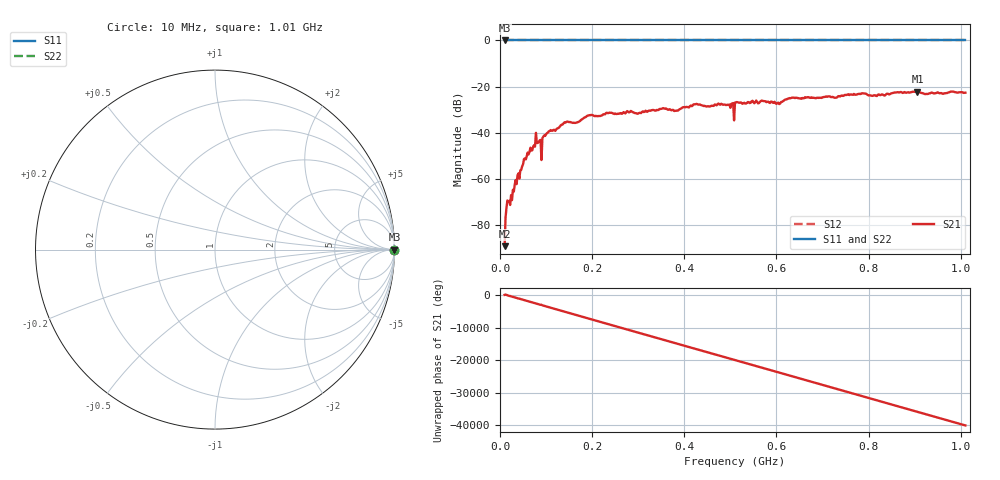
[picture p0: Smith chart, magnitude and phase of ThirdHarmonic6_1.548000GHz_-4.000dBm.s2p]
! 8/16/2025 6:21:59 PM
! C:\ANRITSUVNA\TEMP\TEMP.S2P
! CHANNEL.1
! TR.MEASUREMENT
! RAW.DATA
! RF.CORRECTION.OFF
! AVERAGING.OFF
! IF.BANDWIDTH: 5KHZ
! SWEEPTYPE:  FREQ.SWEEP(Linear)
! Reference Plane Port Info
! PORT:  PORT1  PORT2
! DISTANCE:  0  m  0  m
! TIME:  0  s  0  s
! PHASE.OFFSET:  0  deg.  0  deg.
! LOSS:  0  dB  0  dB
! REF.LOSS:  0  dB  0  dB
! REF.FREQ:  0  Hz  0  Hz
! Power Info
! POWER:  -20  dBm  -20  dBm
! EFF.POWER:  -20  dBm  -20  dBm
! SOURCE.ATTEN:  0  dB  0  dB
! TEST.ATTEN:  0  dB  0  dB
# GHZ S RI R 50.0
! FREQ.GHZ  S11RE  S11IM  S21RE  S21IM  S12RE  S12IM  S22RE  S22IM
!; PortSelection: Port_12
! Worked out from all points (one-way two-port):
!   501 points, 10 MHz to 1.01 GHz, reference 50 ohm
!   highest |S21| = -22.15 dB at 906 MHz (marker M1); lowest = -89.2 dB at 10 MHz (marker M2)
!   lowest |S11| = 0.0 dB at 10 MHz (marker M3)
!   |S11| at or under -10 dB: nowhere
!   |S22| runs from 0.0 to 0.0 dB; largest |S21 - S12| = 1.1
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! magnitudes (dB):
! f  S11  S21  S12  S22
! 10 MHz  0.0  -89.2  0.0  0.0
! 16 MHz  0.0  -69.4  0.0  0.0
! 26 MHz  0.0  -69.2  0.0  0.0
! 36 MHz  0.0  -62.3  0.0  0.0
! 56 MHz  0.0  -51.6  0.0  0.0
! 76 MHz  0.0  -46.0  0.0  0.0
! 82 MHz  0.0  -44.4  0.0  0.0
! 86 MHz  0.0  -43.3  0.0  0.0
! 106 MHz  0.0  -39.4  0.0  0.0
! 142 MHz  0.0  -35.6  0.0  0.0
! 178 MHz  0.0  -34.2  0.0  0.0
! 344 MHz  0.0  -30.2  0.0  0.0
! 382 MHz  0.0  -30.5  0.0  0.0
! 424 MHz  0.0  -27.7  0.0  0.0
! 510 MHz  0.0  -26.9  0.0  0.0
! 514 MHz  0.0  -26.7  0.0  0.0
! 604 MHz  0.0  -27.0  0.0  0.0
! 632 MHz  0.0  -24.9  0.0  0.0
! 678 MHz  0.0  -24.9  0.0  0.0
! 844 MHz  0.0  -23.4  0.0  0.0
! 906 MHz  0.0  -22.2  0.0  0.0
! 1.01 GHz  0.0  -22.7  0.0  0.0
